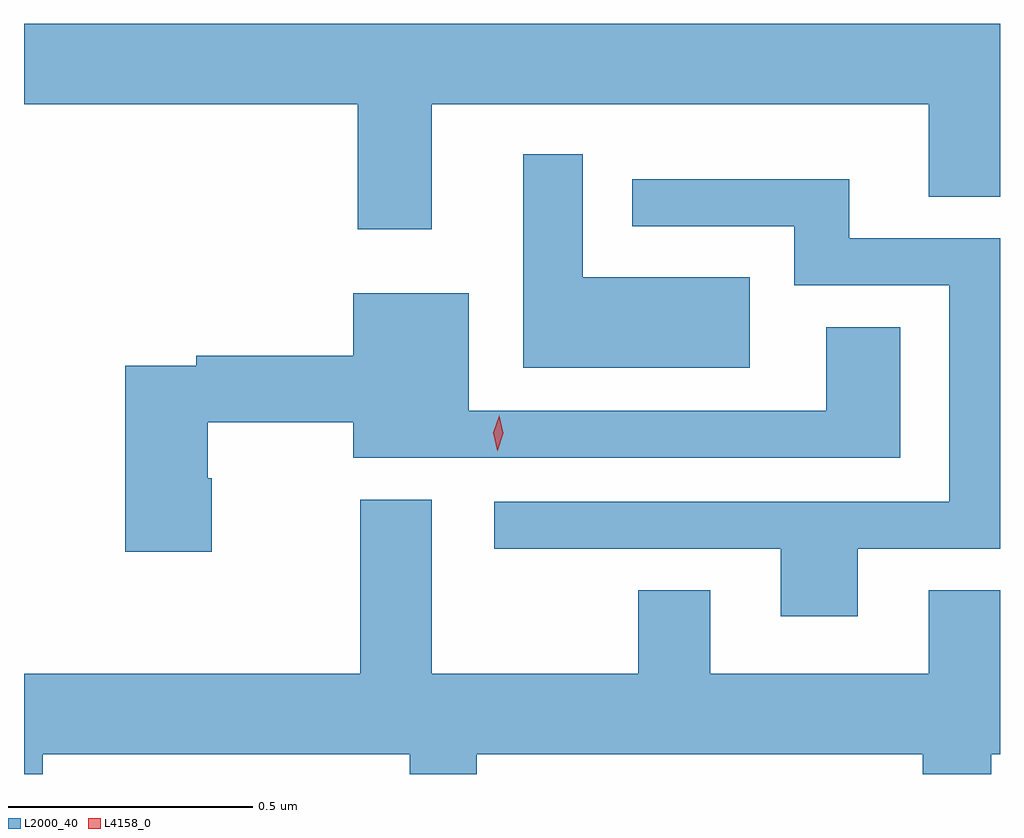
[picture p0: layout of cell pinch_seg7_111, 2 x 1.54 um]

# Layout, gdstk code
import gdstk
lib = gdstk.Library(unit=1e-6, precision=1e-09)
def P(c, l, *ps):  # polygons
    for p in ps: c.add(gdstk.Polygon(p, *l))
L2000_40 = (2000, 40)
L4158_0 = (4158, 0)

pinch_seg7_111 = lib.new_cell('pinch_seg7_111')
P(pinch_seg7_111, L2000_40, [(925.867,1037.912),(926.885,1037.912),(926.885,1037.722),(927.031,1037.722),(927.031,1038.076),(925.031,1038.076),(925.031,1037.912),(925.715,1037.912),(925.715,1037.655),(925.867,1037.655)],
  [(926.518,1037.557),(926.176,1037.557),(926.176,1037.809),(926.054,1037.809),(926.054,1037.372),(926.518,1037.372)],
  [(926.74,1037.001),(927.031,1037.001),(927.031,1037.637),(926.722,1037.637),(926.722,1037.758),(926.277,1037.758),(926.277,1037.661),(926.609,1037.661),(926.609,1037.541),(926.927,1037.541),(926.927,1037.097),(925.995,1037.097),(925.995,1037.001),(926.582,1037.001),(926.582,1036.862),(926.74,1036.862)],
  [(925.416,1037.145),(925.408,1037.145),(925.408,1037.26),(925.706,1037.26),(925.706,1037.187),(926.827,1037.187),(926.827,1037.455),(926.675,1037.455),(926.675,1037.283),(925.942,1037.283),(925.942,1037.524),(925.706,1037.524),(925.706,1037.396),(925.384,1037.396),(925.384,1037.376),(925.238,1037.376),(925.238,1036.995),(925.416,1036.995)],
  [(925.72,1036.744),(925.031,1036.744),(925.031,1036.539),(925.069,1036.539),(925.069,1036.58),(925.821,1036.58),(925.821,1036.539),(925.959,1036.539),(925.959,1036.58),(926.873,1036.58),(926.873,1036.539),(927.013,1036.539),(927.013,1036.58),(927.031,1036.58),(927.031,1036.916),(926.885,1036.916),(926.885,1036.744),(926.437,1036.744),(926.437,1036.916),(926.29,1036.916),(926.29,1036.744),(925.867,1036.744),(925.867,1037.101),(925.72,1037.101)])
P(pinch_seg7_111, L4158_0, [(926.001,1037.201),(926.001,1037.202),(925.993,1037.238),(926.005,1037.273),(926.005,1037.274),(926.005,1037.273),(926.013,1037.237),(926.002,1037.202)])

lib.write_gds('pinch_seg7_111.gds')
